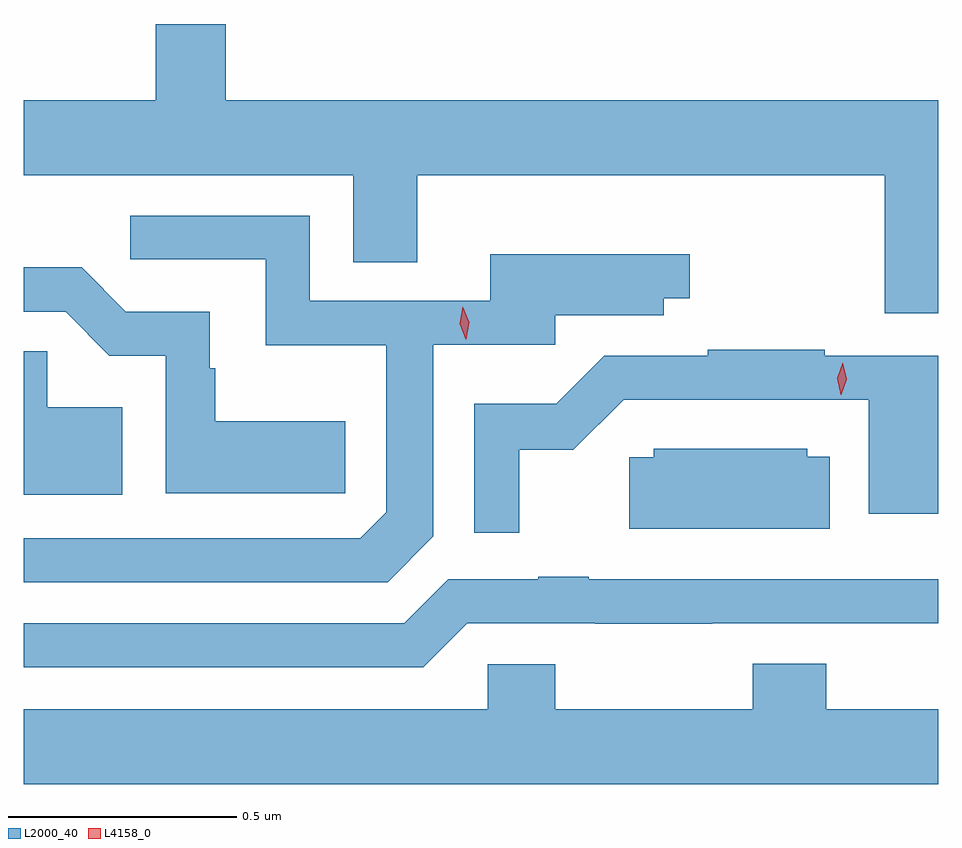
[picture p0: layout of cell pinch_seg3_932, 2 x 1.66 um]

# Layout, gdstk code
import gdstk
lib = gdstk.Library(unit=1e-6, precision=1e-09)
def P(c, l, *ps):  # polygons
    for p in ps: c.add(gdstk.Polygon(p, *l))
L2000_40 = (2000, 40)
L4158_0 = (4158, 0)

pinch_seg3_932 = lib.new_cell('pinch_seg3_932')
P(pinch_seg3_932, L2000_40, [(780.151,674.44),(778.592,674.44),(778.592,674.607),(778.439,674.607),(778.439,674.44),(778.151,674.44),(778.151,674.276),(778.871,674.276),(778.871,674.086),(779.011,674.086),(779.011,674.276),(780.035,674.276),(780.035,673.974),(780.151,673.974)],
  [(779.047,673.486),(779.047,673.905),(779.313,673.905),(779.313,673.97),(779.551,673.97),(779.551,674.007),(779.608,674.007),(779.608,674.103),(779.171,674.103),(779.171,674.001),(778.776,674.001),(778.776,674.187),(778.383,674.187),(778.383,674.092),(778.68,674.092),(778.68,673.904),(778.944,673.904),(778.944,673.539),(778.887,673.482),(778.151,673.482),(778.151,673.386),(778.947,673.386)],
  [(778.854,673.738),(778.57,673.738),(778.57,673.854),(778.557,673.854),(778.557,673.977),(778.374,673.977),(778.277,674.075),(778.151,674.075),(778.151,673.977),(778.242,673.977),(778.338,673.881),(778.461,673.881),(778.461,673.58),(778.854,673.58)],
  [(779.235,673.675),(779.353,673.675),(779.463,673.785),(779.999,673.785),(779.999,673.535),(780.151,673.535),(780.151,673.881),(779.903,673.881),(779.903,673.894),(779.647,673.894),(779.647,673.881),(779.421,673.881),(779.316,673.776),(779.136,673.776),(779.136,673.494),(779.235,673.494)],
  [(778.366,673.768),(778.202,673.768),(778.202,673.891),(778.151,673.891),(778.151,673.577),(778.366,673.577)],
  [(779.914,673.66),(779.865,673.66),(779.865,673.678),(779.529,673.678),(779.529,673.659),(779.475,673.659),(779.475,673.502),(779.914,673.502)],
  [(779.121,673.296),(779.401,673.296),(779.401,673.295),(779.657,673.295),(779.657,673.296),(780.151,673.296),(780.151,673.392),(779.387,673.392),(779.387,673.397),(779.276,673.397),(779.276,673.392),(779.079,673.392),(778.983,673.296),(778.151,673.296),(778.151,673.2),(779.025,673.2)],
  [(780.151,673.108),(779.906,673.108),(779.906,673.207),(779.746,673.207),(779.746,673.108),(779.313,673.108),(779.313,673.206),(779.166,673.206),(779.166,673.108),(778.151,673.108),(778.151,672.944),(780.151,672.944)])
P(pinch_seg3_932, L4158_0, [(779.938,673.796),(779.938,673.796),(779.931,673.832),(779.943,673.866),(779.943,673.866),(779.943,673.866),(779.951,673.83),(779.939,673.796)],
  [(779.118,673.917),(779.105,673.951),(779.111,673.988),(779.111,673.988),(779.111,673.988),(779.125,673.954),(779.119,673.917),(779.119,673.917)])

lib.write_gds('pinch_seg3_932.gds')
